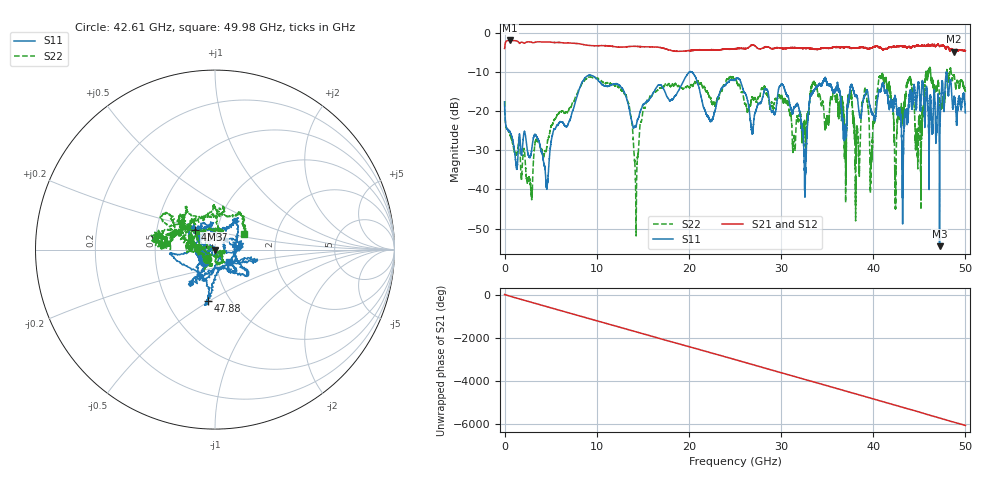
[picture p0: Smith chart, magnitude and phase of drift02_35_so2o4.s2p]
!Created with skrf (http://scikit-rf.org).
# Hz S RI R 50.0
!freq ReS11 ImS11 ReS21 ImS21 ReS12 ImS12 ReS22 ImS22
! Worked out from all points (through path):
!   10001 points, 300 kHz to 50 GHz, reference 50 ohm
!   highest |S21| = -1.99 dB at 585.3 MHz (marker M1); lowest = -4.8 dB at 48.77 GHz (marker M2)
!   group delay of S21, straight-line fit = 337 ps
!   lowest |S11| = -54.5 dB at 47.2 GHz (marker M3), VSWR 1.00, Z = 49.9 - j0.129 ohm
!   |S11| at or under -10 dB: start of sweep to 20.06 GHz; 20.20682 GHz to 20.22119 GHz (14.38 MHz wide, 0.0711 % of centre); 20.24 GHz to end of sweep (the widest 3 of 4)
!   |S22| runs from -51.9 to -8.8 dB; largest |S21 - S12| = 0.032
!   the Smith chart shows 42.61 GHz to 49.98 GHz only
!   S11 on the Smith chart (normalised r, x): 42.61 GHz: 0.87, -0.12; 43.97 GHz: 0.78, +0.18; 47.88 GHz: 0.79, -0.49; 49.98 GHz: 1.15, -0.16
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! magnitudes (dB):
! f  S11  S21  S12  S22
! 300 kHz  -17.7  -4.0  -4.0  -17.5
! 585.3 MHz  -25.3  -2.0  -2.0  -26.0
! 4.565 GHz  -39.8  -2.4  -2.4  -29.4
! 8.335 GHz  -13.0  -2.9  -2.9  -13.2
! 13.01 GHz  -15.3  -3.7  -3.6  -15.7
! 14.28 GHz  -23.8  -3.5  -3.5  -48.3
! 16.67 GHz  -13.4  -3.7  -3.7  -14.5
! 25 GHz  -12.1  -4.1  -4.1  -12.1
! 30.18 GHz  -13.3  -4.0  -4.1  -17.0
! 32.57 GHz  -37.2  -4.0  -3.9  -23.9
! 33.34 GHz  -15.8  -4.0  -4.1  -13.6
! 38.29 GHz  -16.8  -3.9  -3.9  -24.5
! 41.67 GHz  -18.3  -3.8  -3.9  -12.7
! 42.61 GHz  -20.6  -3.5  -3.5  -23.3
! 43.97 GHz  -16.0  -3.6  -3.7  -11.3
! 44.99 GHz  -14.4  -3.4  -3.3  -21.7
! 45.91 GHz  -17.9  -3.2  -3.1  -12.0
! 47.2 GHz  -54.5  -3.5  -3.5  -16.7
! 47.88 GHz  -10.8  -4.1  -4.1  -12.5
! 48.77 GHz  -17.1  -4.8  -4.8  -10.9
! 49.98 GHz  -19.8  -4.6  -4.6  -14.7
! 50 GHz  -20.5  -4.6  -4.6  -15.2
